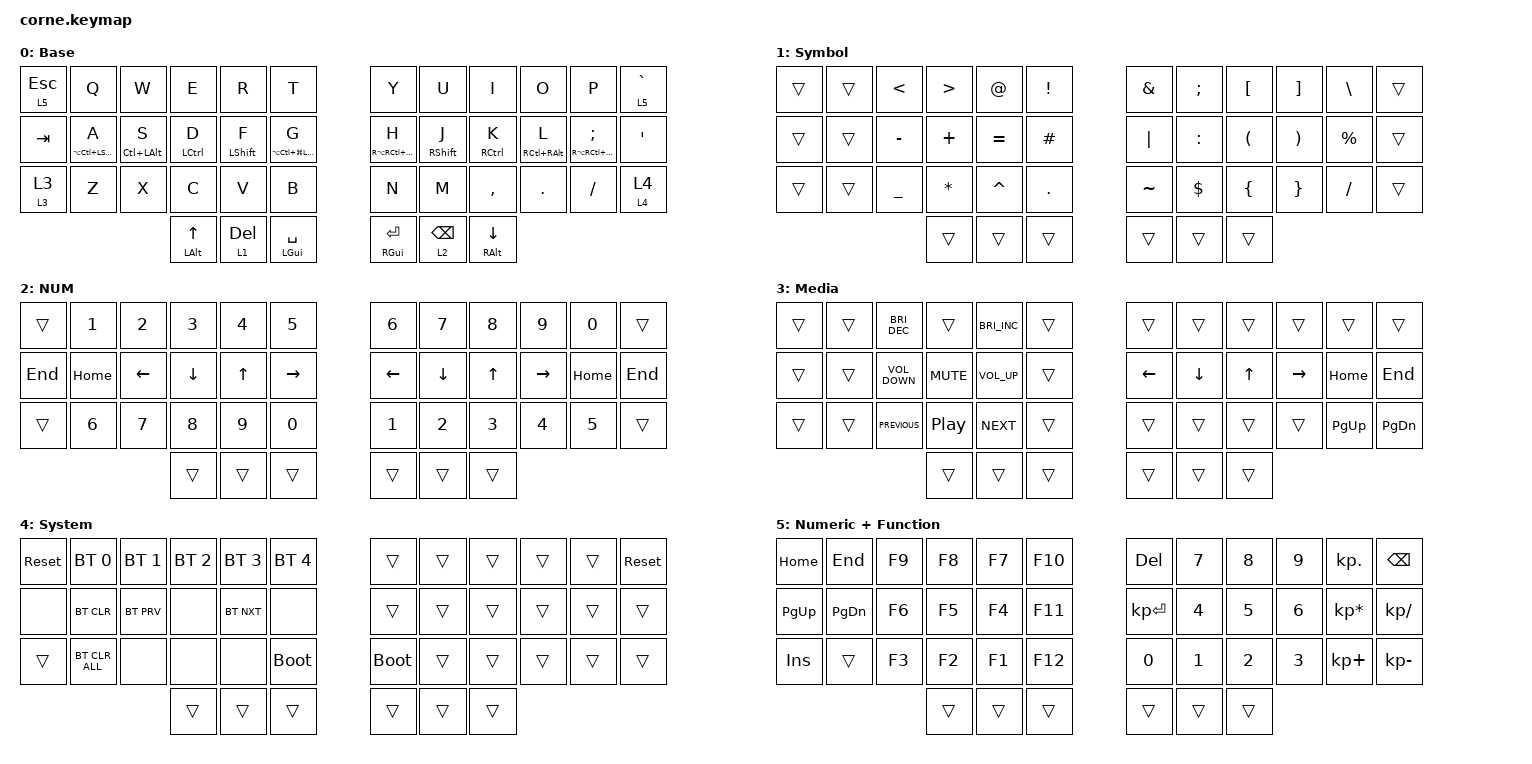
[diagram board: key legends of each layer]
/*
 * Copyright (c) 2020 The ZMK Contributors
 *
 * SPDX-License-Identifier: MIT
 */

#include <behaviors.dtsi>
#include <dt-bindings/zmk/bt.h>
#include <dt-bindings/zmk/keys.h>
#include <dt-bindings/zmk/keys.h>

&mt { flavor = "tap-preferred"; };

/ {
    behaviors {
        mo_to: behaviors_moto {
            compatible = "zmk,behavior-hold-tap";
            label = "Momentary-Toggle";
            bindings = <&mo>, <&tog>;

            #binding-cells = <2>;
            tapping-term-ms = <200>;
        };

        hm: hm {
            compatible = "zmk,behavior-hold-tap";
            label = "Homerow";
            bindings = <&kp>, <&kp>;

            #binding-cells = <2>;
            tapping-term-ms = <200>;
            flavor = "tap-preferred";
            quick-tap-ms = <0>;
        };

        kt_kp: behaviors_kt_kp {
            compatible = "zmk,behavior-hold-tap";
            label = "KeyToggle_KeyPressed";
            bindings = <&kp>, <&kt>;

            #binding-cells = <2>;
            tapping-term-ms = <200>;
        };
    };

    combos {
        compatible = "zmk,combos";

        combo_cwords {
            bindings = <&caps_word>;
            key-positions = <12 23>;
            timeout-ms = <50>;
        };
    };

    keymap {
        compatible = "zmk,keymap";

        Base {
            // -----------------------------------------------------------------------------------------
            // | ESC      |  Q  |  W  |  E  |  R  |  T  |   |  Y  |  U   |  I  |  O  |  P  | BKSP    |
            // | TAB      |  A  |  S  |  D  |  F  |  G  |   |  H  |  J   |  K  |  L  |  ;  |  '      |
            // | *LMOUSE* |  Z  |  X  |  C  |  V  |  B  |   |  N  |  M   |  ,  |  .  |  /  | *LSYS*  |
            //                        | GUI | LWR | SPC |   | ENT | RSE  | ALT |

            bindings = <
&lt 5 ESC   &kp Q                 &kp W               &kp E                  &kp R         &kp T                           &kp Y                    &kp U            &kp I                     &kp O                &kp P                        &lt 5 GRAVE
&kp TAB     &hm LA(LC(LSHIFT)) A  &hm LC(LEFT_ALT) S  &hm LCTRL D            &hm LSHIFT F  &hm LA(LC(LG(LEFT_SHIFT))) G    &hm RA(RC(RG(RSHFT))) H  &hm RSHIFT J     &hm RCTRL K               &hm RC(RIGHT_ALT) L  &hm RA(RC(RSHFT)) SEMICOLON  &kp SQT
&mo_to 3 3  &kp Z                 &kp X               &kp C                  &kp V         &kp B                           &kp N                    &kp M            &kp COMMA                 &kp DOT              &kp FSLH                     &mo_to 4 4
                                                      &mt LEFT_ALT UP_ARROW  &lt 1 DELETE  &mt LEFT_GUI SPACE              &mt RIGHT_GUI ENTER      &lt 2 BACKSPACE  &mt RIGHT_ALT DOWN_ARROW
            >;

            label = "Base";
        };

        SYM {
            // -----------------------------------------------------------------------------------------
            // |  TAB |  1  |  2  |  3  |  4  |  5  |   |  6  |  7  |  8  |  9  |  0  | BKSP |
            // | BTCLR| BT1 | BT2 | BT3 | BT4 | BT5 |   | LFT | DWN |  UP | RGT |     |      |
            // | SHFT |     |     |     |     |     |   |     |     |     |     |     |      |
            //                    | GUI |     | SPC |   | ENT |     | ALT |

            bindings = <
&trans  &trans  &kp LESS_THAN   &kp GT        &kp AT     &kp EXCL    &kp AMPERSAND  &kp SEMI    &kp LEFT_BRACKET      &kp RIGHT_BRACKET      &kp BACKSLASH  &trans
&trans  &trans  &kp MINUS       &kp PLUS      &kp EQUAL  &kp HASH    &kp PIPE       &kp COLON   &kp LEFT_PARENTHESIS  &kp RIGHT_PARENTHESIS  &kp PERCENT    &trans
&trans  &trans  &kp UNDERSCORE  &kp ASTERISK  &kp CARET  &kp DOT     &kp TILDE      &kp DOLLAR  &kp LEFT_BRACE        &kp RIGHT_BRACE        &kp SLASH      &trans
                                &trans        &trans     &trans      &trans         &trans      &trans
            >;

            label = "Symbol";
        };

        NUM {
            bindings = <
&trans   &kp NUMBER_1  &kp NUMBER_2  &kp NUMBER_3  &kp NUMBER_4  &kp NUMBER_5    &kp NUMBER_6  &kp NUMBER_7  &kp NUMBER_8  &kp NUMBER_9  &kp NUMBER_0  &trans
&kp END  &kp HOME      &kp LEFT      &kp DOWN      &kp UP_ARROW  &kp RIGHT       &kp LEFT      &kp DOWN      &kp UP_ARROW  &kp RIGHT     &kp HOME      &kp END
&trans   &kp NUMBER_6  &kp NUMBER_7  &kp NUMBER_8  &kp NUMBER_9  &kp NUMBER_0    &kp NUMBER_1  &kp NUMBER_2  &kp NUMBER_3  &kp NUMBER_4  &kp NUMBER_5  &trans
                                     &trans        &trans        &trans          &trans        &trans        &trans
            >;
        };

        MEDIA {
            bindings = <
&trans  &trans  &kp C_BRIGHTNESS_DEC  &trans            &kp C_BRIGHTNESS_INC  &trans    &trans    &trans    &trans        &trans     &trans       &trans
&trans  &trans  &kp C_VOLUME_DOWN     &kp C_MUTE        &kp C_VOLUME_UP       &trans    &kp LEFT  &kp DOWN  &kp UP_ARROW  &kp RIGHT  &kp HOME     &kp END
&trans  &trans  &kp C_PREVIOUS        &kp C_PLAY_PAUSE  &kp C_NEXT            &trans    &trans    &trans    &trans        &trans     &kp PAGE_UP  &kp PAGE_DOWN
                                      &trans            &trans                &trans    &trans    &trans    &trans
            >;

            label = "Media";
        };

        SYS {
            bindings = <
&sys_reset  &bt BT_SEL 0    &bt BT_SEL 1  &bt BT_SEL 2  &bt BT_SEL 3  &bt BT_SEL 4    &trans       &trans  &trans  &trans  &trans  &sys_reset
&none       &bt BT_CLR      &bt BT_PRV    &none         &bt BT_NXT    &none           &trans       &trans  &trans  &trans  &trans  &trans
&trans      &bt BT_CLR_ALL  &none         &none         &none         &bootloader     &bootloader  &trans  &trans  &trans  &trans  &trans
                                          &trans        &trans        &trans          &trans       &trans  &trans
            >;

            label = "System";
        };

        NUM+ {
            // -----------------------------------------------------------------------------------------
            // |  TAB |  !  |  @  |  #  |  $  |  %  |   |  ^  |  &  |  *  |  (  |  )  | BKSP |
            // | CTRL |     |     |     |     |     |   |  -  |  =  |  [  |  ]  |  \  |  `   |
            // | SHFT |     |     |     |     |     |   |  _  |  +  |  {  |  }  | "|" |  ~   |
            //                    | GUI |     | SPC |   | ENT |     | ALT |

            bindings = <
&kp HOME    &kp END        &kp F9  &kp F8  &kp F7  &kp F10    &kp DELETE    &kp N7  &kp N8  &kp N9  &kp KP_DOT       &kp BACKSPACE
&kp PG_UP   &kp PAGE_DOWN  &kp F6  &kp F5  &kp F4  &kp F11    &kp KP_ENTER  &kp N4  &kp N5  &kp N6  &kp KP_MULTIPLY  &kp KP_DIVIDE
&kp INSERT  &trans         &kp F3  &kp F2  &kp F1  &kp F12    &kp N0        &kp N1  &kp N2  &kp N3  &kp KP_PLUS      &kp KP_MINUS
                                   &trans  &trans  &trans     &trans        &trans  &trans
            >;

            label = "Numeric + Function";
        };
    };
};
